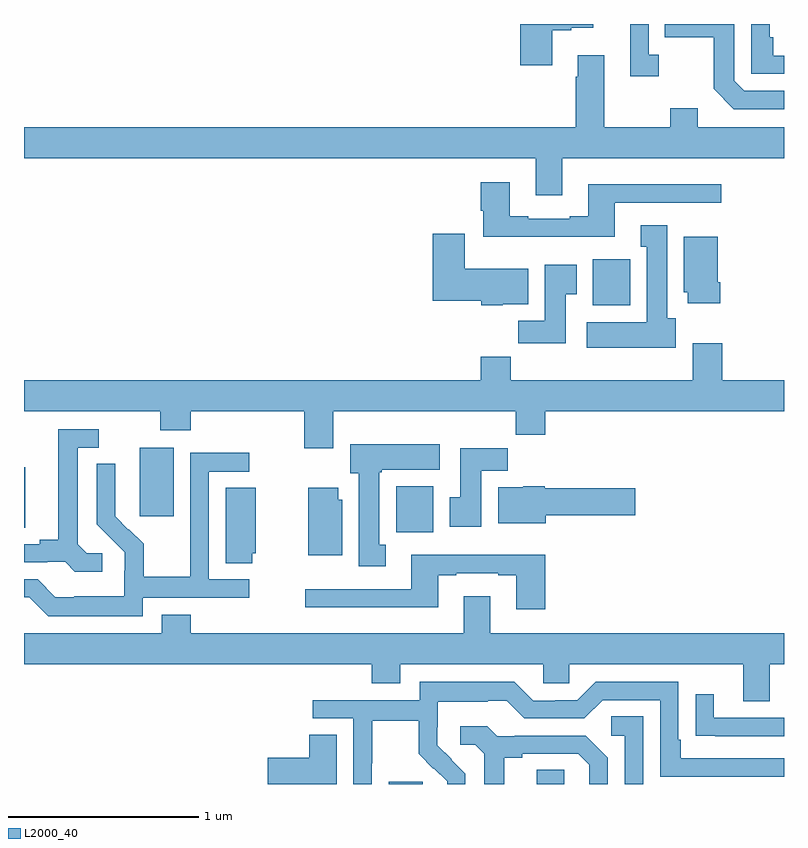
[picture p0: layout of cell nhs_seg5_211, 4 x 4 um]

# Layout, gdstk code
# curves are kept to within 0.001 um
import gdstk
lib = gdstk.Library(unit=1e-6, precision=1e-09)
def R(c, l, rs):  # rectangles x0, y0, x1, y1
    for r in rs: c.add(gdstk.rectangle(r[:2], r[2:], *l))
def P(c, l, *ps):  # polygons
    for p in ps: c.add(gdstk.Polygon(p, *l))
L2000_40 = (2000, 40)

nhs_seg5_211 = lib.new_cell('nhs_seg5_211')
R(nhs_seg5_211, L2000_40, [(124.919,854.799,125.098,854.811), (125.699,854.799,125.844,854.873), (124.958,856.124,125.155,856.366), (123,856.147,123.007,856.467), (123.608,856.209,123.787,856.57), (125.993,857.318,126.19,857.56)])
P(nhs_seg5_211, L2000_40, [(127,858.633),(126.944,858.633),(126.944,858.73),(126.924,858.73),(126.924,858.799),(126.828,858.799),(126.828,858.537),(127,858.537)],
  [(127,858.447),(126.792,858.447),(126.738,858.501),(126.738,858.799),(126.373,858.799),(126.373,858.73),(126.63,858.73),(126.63,858.457),(126.735,858.351),(127,858.351)],
  [(125.779,858.767),(125.879,858.767),(125.879,858.779),(125.995,858.779),(125.995,858.799),(125.612,858.799),(125.612,858.582),(125.779,858.582)],
  [(126.34,858.638),(126.288,858.638),(126.288,858.799),(126.191,858.799),(126.191,858.525),(126.34,858.525)],
  [(125.833,858.092),(127,858.092),(127,858.256),(126.547,858.256),(126.547,858.355),(126.4,858.355),(126.4,858.256),(126.055,858.256),(126.055,858.634),(125.915,858.634),(125.915,858.521),(125.903,858.521),(125.903,858.256),(123,858.256),(123,858.092),(125.693,858.092),(125.693,857.898),(125.833,857.898)],
  [(126.109,857.859),(126.67,857.859),(126.67,857.956),(125.969,857.956),(125.969,857.788),(125.873,857.788),(125.873,857.775),(125.653,857.775),(125.653,857.788),(125.557,857.788),(125.557,857.965),(125.405,857.965),(125.405,857.817),(125.417,857.817),(125.417,857.678),(126.109,857.678)],
  [(126.43,857.25),(126.385,857.25),(126.385,857.74),(126.245,857.74),(126.245,857.627),(126.278,857.627),(126.278,857.23),(125.961,857.23),(125.961,857.096),(126.43,857.096)],
  [(125.52,857.324),(125.653,857.324),(125.653,857.512),(125.32,857.512),(125.32,857.695),(125.15,857.695),(125.15,857.342),(125.406,857.342),(125.406,857.318),(125.52,857.318)],
  [(126.665,857.44),(126.652,857.44),(126.652,857.68),(126.473,857.68),(126.473,857.388),(126.494,857.388),(126.494,857.328),(126.665,857.328)],
  [(125.851,857.377),(125.908,857.377),(125.908,857.533),(125.741,857.533),(125.741,857.236),(125.602,857.236),(125.602,857.118),(125.851,857.118)],
  [(125.561,857.048),(125.405,857.048),(125.405,856.924),(123,856.924),(123,856.76),(123.718,856.76),(123.718,856.661),(123.878,856.661),(123.878,856.76),(124.475,856.76),(124.475,856.566),(124.627,856.566),(124.627,856.76),(125.587,856.76),(125.587,856.636),(125.744,856.636),(125.744,856.76),(127,856.76),(127,856.924),(126.674,856.924),(126.674,857.119),(126.521,857.119),(126.521,856.924),(125.561,856.924)],
  [(123.412,856.014),(123.33,856.014),(123.283,856.061),(123.283,856.569),(123.394,856.569),(123.394,856.665),(123.179,856.665),(123.179,856.085),(123.083,856.085),(123.083,856.062),(123,856.062),(123,855.966),(123.122,855.966),(123.122,855.969),(123.216,855.969),(123.268,855.917),(123.412,855.917)],
  [(124.903,856.058),(124.87,856.058),(124.87,856.441),(124.884,856.441),(124.884,856.454),(125.188,856.454),(125.188,856.588),(124.718,856.588),(124.718,856.434),(124.763,856.434),(124.763,855.945),(124.903,855.945)],
  [(125.407,856.448),(125.546,856.448),(125.546,856.567),(125.297,856.567),(125.297,856.308),(125.24,856.308),(125.24,856.152),(125.407,856.152)],
  [(123.624,855.78),(124.186,855.78),(124.186,855.876),(123.972,855.876),(123.972,856.443),(124.186,856.443),(124.186,856.542),(123.876,856.542),(123.876,856.112),(123.874,856.112),(123.874,855.889),(123.629,855.889),(123.629,856.063),(123.552,856.14),(123.549,856.137),(123.479,856.208),(123.48,856.484),(123.384,856.484),(123.384,856.166),(123.53,856.018),(123.53,855.921),(123.528,855.921),(123.528,855.787),(123.265,855.787),(123.265,855.783),(123.165,855.783),(123.072,855.876),(123,855.876),(123,855.783),(123.027,855.783),(123.127,855.683),(123.624,855.683)],
  [(125.746,856.214),(126.217,856.214),(126.217,856.356),(125.742,856.356),(125.742,856.366),(125.628,856.366),(125.628,856.36),(125.495,856.36),(125.495,856.172),(125.746,856.172)],
  [(124.2,856.014),(124.219,856.014),(124.219,856.358),(124.061,856.358),(124.061,855.961),(124.2,855.961)],
  [(124.675,856.296),(124.654,856.296),(124.654,856.357),(124.496,856.357),(124.496,856.004),(124.675,856.004)],
  [(125.744,856.006),(125.039,856.006),(125.039,855.825),(124.479,855.825),(124.479,855.728),(125.179,855.728),(125.179,855.897),(125.275,855.897),(125.275,855.909),(125.495,855.909),(125.495,855.897),(125.591,855.897),(125.591,855.72),(125.744,855.72)],
  [(126.925,855.428),(127,855.428),(127,855.592),(125.455,855.592),(125.455,855.787),(125.315,855.787),(125.315,855.592),(123.878,855.592),(123.878,855.691),(123.725,855.691),(123.725,855.592),(123,855.592),(123,855.428),(124.829,855.428),(124.829,855.329),(124.981,855.329),(124.981,855.428),(125.733,855.428),(125.733,855.33),(125.871,855.33),(125.871,855.428),(126.785,855.428),(126.785,855.234),(126.925,855.234)],
  [(124.83,854.908),(124.833,854.908),(124.833,855.132),(125.077,855.132),(125.077,854.957),(125.154,854.88),(125.157,854.883),(125.228,854.813),(125.228,854.799),(125.322,854.799),(125.322,854.854),(125.176,855.002),(125.176,855.099),(125.178,855.099),(125.178,855.233),(125.441,855.233),(125.441,855.237),(125.541,855.237),(125.634,855.144),(125.949,855.144),(126.045,855.24),(126.348,855.24),(126.348,854.838),(127,854.838),(127,854.934),(126.457,854.934),(126.457,855.031),(126.444,855.031),(126.444,855.336),(126.009,855.336),(125.913,855.24),(125.795,855.24),(125.795,855.237),(125.679,855.237),(125.579,855.337),(125.082,855.337),(125.082,855.24),(124.521,855.24),(124.521,855.144),(124.734,855.144),(124.734,854.799),(124.83,854.799)],
  [(127,855.147),(126.631,855.147),(126.631,855.271),(126.535,855.271),(126.535,855.052),(126.637,855.052),(126.637,855.051),(127,855.051)],
  [(126.258,855.155),(126.09,855.155),(126.09,855.054),(126.162,855.054),(126.162,854.799),(126.258,854.799)],
  [(125.527,854.936),(125.623,854.936),(125.623,854.958),(125.918,854.958),(125.975,854.901),(125.975,854.799),(126.072,854.799),(126.072,854.938),(125.956,855.054),(125.584,855.054),(125.584,855.051),(125.49,855.051),(125.438,855.103),(125.295,855.103),(125.295,855.006),(125.376,855.006),(125.423,854.959),(125.423,854.799),(125.527,854.799)],
  [(124.645,855.059),(124.502,855.059),(124.502,854.936),(124.284,854.936),(124.284,854.799),(124.645,854.799)])

lib.write_gds('nhs_seg5_211.gds')
